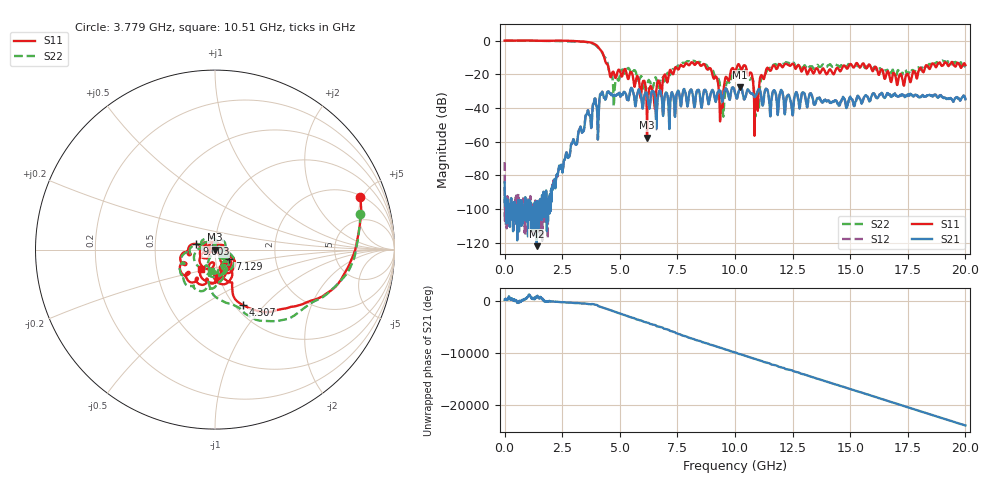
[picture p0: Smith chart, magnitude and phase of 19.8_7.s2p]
#  HZ  S  RI  R  50.00
! Rohde & Schwarz Vector Network Analyzer
! Rohde-Schwarz,ZNB20-2Port,1311601062102128,3.60
! Created: UTC 4/29/2024, 2:59:56 PM
! freq[Hz]  re:S11  im:S11  re:S21  im:S21  re:S12  im:S12  re:S22  im:S22
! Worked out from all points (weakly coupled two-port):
!   2007 points, 100 kHz to 20 GHz, reference 50 ohm
!   highest |S21| = -27.71 dB at 10.23 GHz (marker M1); lowest = -122.2 dB at 1.396 GHz (marker M2)
!   lowest |S11| = -57.6 dB at 6.182 GHz (marker M3), VSWR 1.00, Z = 50.1 - j0.00157 ohm
!   |S11| at or under -10 dB: 4.326 GHz to end of sweep
!   |S22| runs from -45.2 to 0.1 dB; largest |S21 - S12| = 0.0021
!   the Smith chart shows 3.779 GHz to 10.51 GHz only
!   S11 on the Smith chart (normalised r, x): 3.779 GHz: 2.08, +4.77; 4.307 GHz: 1.09, -0.76; 7.129 GHz: 1.16, -0.13; 9.003 GHz: 0.81, +0.05; 10.51 GHz: 0.83, -0.18
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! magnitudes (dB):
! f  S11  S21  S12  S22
! 100 kHz  0.0  -84.3  -72.2  0.1
! 1.396 GHz  -0.1  -122.2  -103.1  -0.1
! 2.233 GHz  0.0  -82.2  -82.1  -0.3
! 3.34 GHz  -0.6  -53.9  -53.5  -0.6
! 3.779 GHz  -1.3  -50.0  -50.1  -1.6
! 4.307 GHz  -9.2  -33.7  -34.0  -9.2
! 4.776 GHz  -20.7  -32.4  -32.4  -28.8
! 5.364 GHz  -22.8  -35.4  -35.5  -16.3
! 6.182 GHz  -57.6  -31.7  -31.8  -27.5
! 6.67 GHz  -23.7  -32.3  -32.4  -27.2
! 7.129 GHz  -20.4  -42.9  -43.0  -20.3
! 9.003 GHz  -19.3  -29.4  -29.5  -17.0
! 9.382 GHz  -40.6  -31.6  -31.6  -31.6
! 9.472 GHz  -36.9  -35.2  -35.3  -42.5
! 10 GHz  -18.8  -31.1  -31.1  -19.2
! 10.23 GHz  -15.7  -27.7  -27.7  -16.8
! 10.51 GHz  -17.5  -30.3  -30.3  -18.4
! 10.92 GHz  -33.6  -32.6  -32.6  -34.6
! 11.42 GHz  -16.2  -29.8  -29.7  -16.8
! 13.34 GHz  -17.9  -32.8  -32.7  -15.3
! 16.67 GHz  -19.0  -31.7  -31.7  -20.5
! 20 GHz  -14.6  -34.9  -34.8  -14.4
